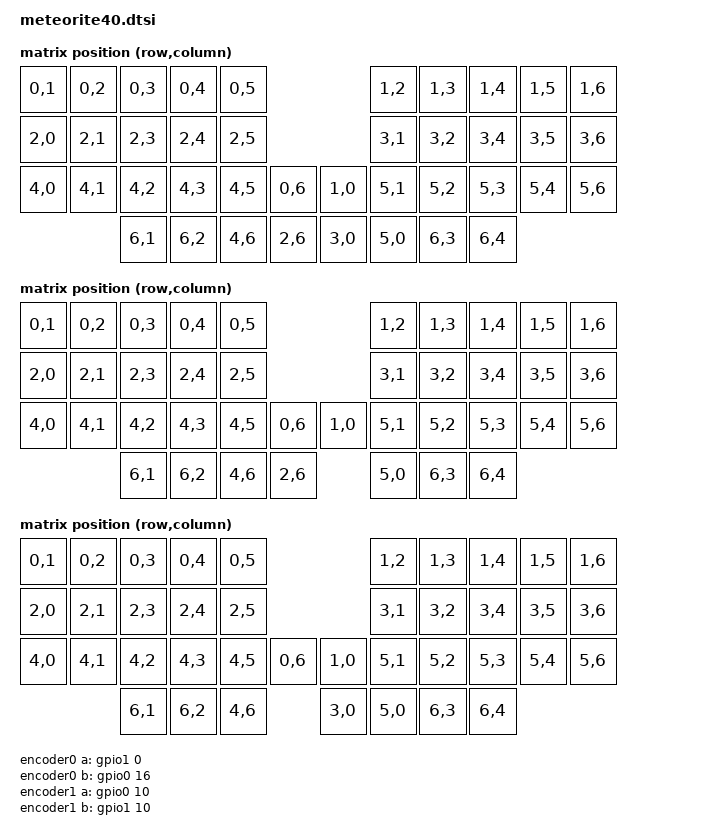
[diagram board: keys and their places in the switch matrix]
#include <zephyr/dt-bindings/input/input-event-codes.h>
#include <dt-bindings/zmk/matrix_transform.h>
#include <dt-bindings/zmk/input_transform.h>
#include "meteorite40-layout.dtsi"


#define DEFAULT_CPI 1000        // トラックボールの感度
#define ROTATION_ANGLE 30       // トラックボールの軸を回転
#define CLIPPER_THRESHOLD 40    // スクロール時に斜めの値をクリップ
#define INVERT_X 1              // スクロールの反転
#define INVERT_Y 0              // スクロールの反転
#define SCROLL_LAYER 2         // スクロールを有効にするレイヤー

#define POLL_PERIOD_MS 30       // キースキャンのポーリング周期（ms）
#define DEBOUNCE_MS 10          // デバウンス時間 (ms)

&LAYOUT_SPLIT_SPACE {
    transform = <&transform_split_space>;
};

&LAYOUT_2U_SPACE {
    transform = <&transform_2u_space>;
};

&LAYOUT_225U_SPACE_LEFT {
    transform = <&transform_225u_space_left>;
};

&LAYOUT_225U_SPACE_RIGHT {
    transform = <&transform_225u_space_right>;
};

&LAYOUT_225U_SPACE_DOUBLE {
    transform = <&transform_225u_space_double>;
};

&spi0 {
    status = "okay";
    compatible = "nordic,nrf-spim";
    cs-gpios = <&gpio1 15 GPIO_ACTIVE_LOW>; // CS: P1.15

    pinctrl-0 = <&spi0_default>;
    pinctrl-1 = <&spi0_sleep>;
    pinctrl-names = "default", "sleep";

    trackball: pmw3610@0 {
        compatible = "pixart,pmw3610";
        reg = <0>;
        spi-max-frequency = <2000000>;
        irq-gpios = <&gpio1 12 (GPIO_ACTIVE_LOW | GPIO_PULL_UP)>; // MOTION: P1.12
        cpi = <DEFAULT_CPI>;
        evt-type = <INPUT_EV_REL>;
        x-input-code = <INPUT_REL_X>;
        y-input-code = <INPUT_REL_Y>;
        force-awake;
        //force-awake-4ms-mode;
        status = "okay";
    };
};

&pinctrl {
    spi0_default: spi0_default {
        group1 {
            psels = <NRF_PSEL(SPIM_SCK, 1, 13)>,   // SCLK:  P1.13
                    <NRF_PSEL(SPIM_MOSI, 1, 14)>,  // SDIO:  P1.14
                    <NRF_PSEL(SPIM_MISO, 1, 14)>;  // MISOは同じSDIO兼用
        };
    };

    spi0_sleep: spi0_sleep {
        group1 {
            psels = <NRF_PSEL(SPIM_SCK, 1, 13)>,
                    <NRF_PSEL(SPIM_MOSI, 1, 14)>,
                    <NRF_PSEL(SPIM_MISO, 1, 14)>;
            low-power-enable;
        };
    };
};

/ {

    chosen {
        zmk,kscan = &meteorite40_scan;
        zmk,physical-layout = &LAYOUT_SPLIT_SPACE;
        //transform = <&default_transform>;
    };

    transform_split_space: keymap_transform_split_space {
        compatible = "zmk,matrix-transform";
        columns = <7>;
        rows = <7>;
        map = <
            RC(0,1) RC(0,2) RC(0,3) RC(0,4) RC(0,5)                 RC(1,2) RC(1,3) RC(1,4) RC(1,5) RC(1,6)
            RC(2,0) RC(2,1) RC(2,3) RC(2,4) RC(2,5)                 RC(3,1) RC(3,2) RC(3,4) RC(3,5) RC(3,6)
            RC(4,0) RC(4,1) RC(4,2) RC(4,3) RC(4,5) RC(0,6) RC(1,0) RC(5,1) RC(5,2) RC(5,3) RC(5,4) RC(5,6)
                            RC(6,1) RC(6,2) RC(4,6) RC(2,6) RC(3,0) RC(5,0) RC(6,3) RC(6,4)  
        >;
    };

    transform_2u_space: keymap_transform_2u_space {
        compatible = "zmk,matrix-transform";
        columns = <7>;
        rows = <7>;
        map = <
            RC(0,1) RC(0,2) RC(0,3) RC(0,4) RC(0,5)                 RC(1,2) RC(1,3) RC(1,4) RC(1,5) RC(1,6)
            RC(2,0) RC(2,1) RC(2,3) RC(2,4) RC(2,5)                 RC(3,1) RC(3,2) RC(3,4) RC(3,5) RC(3,6)
            RC(4,0) RC(4,1) RC(4,2) RC(4,3) RC(4,5) RC(0,6) RC(1,0) RC(5,1) RC(5,2) RC(5,3) RC(5,4) RC(5,6)
                            RC(6,1) RC(6,2) RC(4,6)     RC(2,6)     RC(5,0) RC(6,3) RC(6,4)  
        >;
    };

    transform_225u_space_left: keymap_transform_225u_space_left {
        compatible = "zmk,matrix-transform";
        columns = <7>;
        rows = <7>;
        map = <
            RC(0,1) RC(0,2) RC(0,3) RC(0,4) RC(0,5)                 RC(1,2) RC(1,3) RC(1,4) RC(1,5) RC(1,6)
            RC(2,0) RC(2,1) RC(2,3) RC(2,4) RC(2,5)                 RC(3,1) RC(3,2) RC(3,4) RC(3,5) RC(3,6)
            RC(4,0) RC(4,1) RC(4,2) RC(4,3) RC(4,5) RC(0,6) RC(1,0) RC(5,1) RC(5,2) RC(5,3) RC(5,4) RC(5,6)
                            RC(6,1) RC(6,2)     RC(4,6)     RC(3,0) RC(5,0) RC(6,3) RC(6,4)  
        >;
    };

    transform_225u_space_right: keymap_transform_225u_space_right {
        compatible = "zmk,matrix-transform";
        columns = <7>;
        rows = <7>;
        map = <
            RC(0,1) RC(0,2) RC(0,3) RC(0,4) RC(0,5)                 RC(1,2) RC(1,3) RC(1,4) RC(1,5) RC(1,6)
            RC(2,0) RC(2,1) RC(2,3) RC(2,4) RC(2,5)                 RC(3,1) RC(3,2) RC(3,4) RC(3,5) RC(3,6)
            RC(4,0) RC(4,1) RC(4,2) RC(4,3) RC(4,5) RC(0,6) RC(1,0) RC(5,1) RC(5,2) RC(5,3) RC(5,4) RC(5,6)
                            RC(6,1) RC(6,2) RC(4,6) RC(2,6)    RC(5,0)      RC(6,3) RC(6,4)  
        >;
    };

    transform_225u_space_double: keymap_transform_225u_space_double {
        compatible = "zmk,matrix-transform";
        columns = <7>;
        rows = <7>;
        map = <
            RC(0,1) RC(0,2) RC(0,3) RC(0,4) RC(0,5)                 RC(1,2) RC(1,3) RC(1,4) RC(1,5) RC(1,6)
            RC(2,0) RC(2,1) RC(2,3) RC(2,4) RC(2,5)                 RC(3,1) RC(3,2) RC(3,4) RC(3,5) RC(3,6)
            RC(4,0) RC(4,1) RC(4,2) RC(4,3) RC(4,5) RC(0,6) RC(1,0) RC(5,1) RC(5,2) RC(5,3) RC(5,4) RC(5,6)
                            RC(6,1) RC(6,2)     RC(4,6)          RC(5,0)      RC(6,3) RC(6,4)  
        >;
    };

    meteorite40_scan: kscan0 {
        compatible = "zmk,kscan-gpio-charlieplex";
        gpios = <&gpio0 2 GPIO_ACTIVE_HIGH>,  // ID0: P0.02
                <&gpio0 3 GPIO_ACTIVE_HIGH>,  // ID1: P0.03
                <&gpio0 28 GPIO_ACTIVE_HIGH>, // ID2: P0.28
                <&gpio0 29 GPIO_ACTIVE_HIGH>, // ID3: P0.29
                <&gpio0 4 GPIO_ACTIVE_HIGH>,  // ID4: P0.04
                <&gpio0 5 GPIO_ACTIVE_HIGH>,  // ID5: P0.05
                <&gpio1 11 GPIO_ACTIVE_HIGH>; // ID6: P1.11

        interrupt-gpios = <&gpio0 9 (GPIO_ACTIVE_HIGH | GPIO_PULL_DOWN)>; // Changed to P0.09 (NFC1)
        debounce-press-ms = <DEBOUNCE_MS>;
        debounce-release-ms = <DEBOUNCE_MS>;
        poll-period-ms = <POLL_PERIOD_MS>;
        wakeup-source;
    };

    encoder0: ec11_0 {
        compatible = "alps,ec11";
        a-gpios = <&gpio1 0 (GPIO_ACTIVE_HIGH | GPIO_PULL_UP)>;   // RE0_A: P1.00
        b-gpios = <&gpio0 16 (GPIO_ACTIVE_HIGH | GPIO_PULL_UP)>;  // RE0_B: P0.16
        steps = <4>;
        status = "disabled";
    };

    encoder1: ec11_1 {
        compatible = "alps,ec11";
        a-gpios = <&gpio0 10 (GPIO_ACTIVE_HIGH | GPIO_PULL_UP)>;  // RE1_A: P0.10 (NFC2)
        b-gpios = <&gpio1 10 (GPIO_ACTIVE_HIGH | GPIO_PULL_UP)>;  // RE1_B: P1.10
        steps = <4>;
        status = "disabled";
    };

    sensors: sensors {
        compatible = "zmk,keymap-sensors";
        sensors = <&encoder0 &encoder1>;
        triggers-per-rotation = <1>;
    };

    /*
    xy_transf: xy_transf {
        compatible = "zmk,input-processor-transform";
        #input-processor-cells = <1>;
        type = <INPUT_EV_REL>;
        x-codes = <INPUT_REL_X>, <INPUT_REL_WHEEL>;
        y-codes = <INPUT_REL_Y>, <INPUT_REL_HWHEEL>;
    };

    xy_scaler: xy_scaler {
        compatible = "zmk,input-processor-scaler";
        #input-processor-cells = <2>;
        type = <INPUT_EV_REL>;
        codes = <INPUT_REL_X>, <INPUT_REL_Y>;
        track-remainders;
    };

    x_scaler: x_scaler {
        compatible = "zmk,input-processor-scaler";
        #input-processor-cells = <2>;
        type = <INPUT_EV_REL>;
        codes = <INPUT_REL_X>;
    };
    */

    to_wheel: to_wheel {
        compatible = "zmk,input-processor-code-mapper";
        #input-processor-cells = <0>;
        type = <INPUT_EV_REL>;
        map = <INPUT_REL_X INPUT_REL_HWHEEL>,
              <INPUT_REL_Y INPUT_REL_WHEEL>;
    };

    sensor_rotation: sensor_rotation {
        compatible = "zmk,input-processor-sensor-rotation";
        #input-processor-cells = <0>;
        rotation-angle = <ROTATION_ANGLE>;
    };

    xy_clipper: xy_clipper {
        compatible = "zmk,input-processor-xy-clipper";
        #input-processor-cells = <0>;
        threshold = <CLIPPER_THRESHOLD>;
        invert-x = <INVERT_X>;
        invert-y = <INVERT_Y>;
    };

    trackball_listener {
        compatible = "zmk,input-listener";
        device = <&trackball>;

        input-processors = <&sensor_rotation>;

        scroll {
            layers = <SCROLL_LAYER>;
            input-processors = <&sensor_rotation>,
                               <&xy_clipper>,
                               <&to_wheel>;
        };
    };
};
